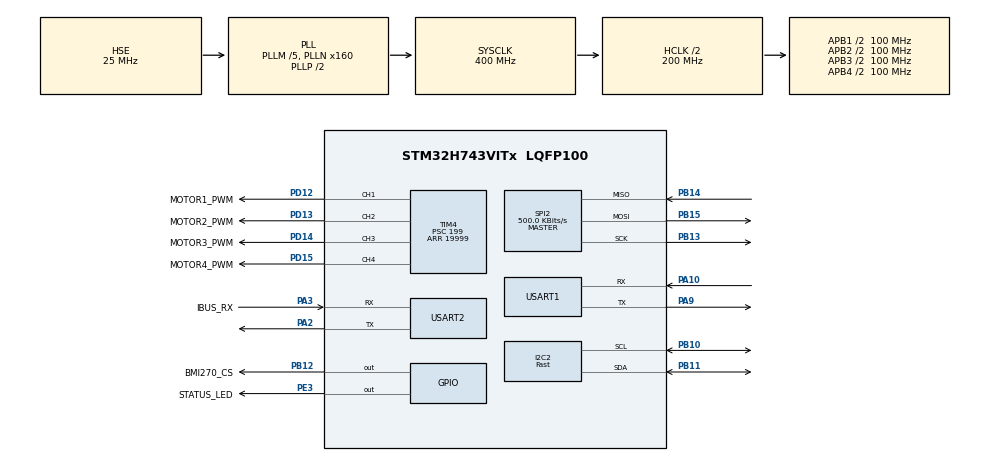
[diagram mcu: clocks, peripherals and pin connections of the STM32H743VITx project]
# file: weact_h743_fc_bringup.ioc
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I2C2.I2C_Speed_Mode=I2C_Fast
I2C2.Timing=0x009034B6
Mcu.Family=STM32H7
Mcu.Name=STM32H743VITx
Mcu.Package=LQFP100
NVIC.PriorityGroup=NVIC_PRIORITYGROUP_4
NVIC.USART2_IRQn=true\:5\:0\:true\:false\:true\:true\:true\:true
PA10.Mode=Asynchronous
PA10.Signal=USART1_RX
PA13\ (JTMS/SWDIO).Mode=Serial_Wire
PA13\ (JTMS/SWDIO).Signal=DEBUG_JTMS-SWDIO
PA14\ (JTCK/SWCLK).Mode=Serial_Wire
PA14\ (JTCK/SWCLK).Signal=DEBUG_JTCK-SWCLK
PA2.Mode=Asynchronous
PA2.Signal=USART2_TX
PA3.GPIO_Label=IBUS_RX
PA3.Mode=Asynchronous
PA3.Signal=USART2_RX
PA9.Mode=Asynchronous
PA9.Signal=USART1_TX
PB10.GPIO_Speed=GPIO_SPEED_FREQ_HIGH
PB10.Mode=I2C
PB10.Signal=I2C2_SCL
PB11.GPIO_Speed=GPIO_SPEED_FREQ_HIGH
PB11.Mode=I2C
PB11.Signal=I2C2_SDA
PB12.GPIO_Label=BMI270_CS
PB12.PinState=GPIO_PIN_SET
PB12.Signal=GPIO_Output
PB13.GPIO_Speed=GPIO_SPEED_FREQ_HIGH
PB13.Mode=Full_Duplex_Master
PB13.Signal=SPI2_SCK
PB14.GPIO_Speed=GPIO_SPEED_FREQ_HIGH
PB14.Mode=Full_Duplex_Master
PB14.Signal=SPI2_MISO
PB15.GPIO_Speed=GPIO_SPEED_FREQ_HIGH
PB15.Mode=Full_Duplex_Master
PB15.Signal=SPI2_MOSI
PC14-OSC32_IN\ (OSC32_IN).Mode=LSE-External-Oscillator
PC14-OSC32_IN\ (OSC32_IN).Signal=RCC_OSC32_IN
PC15-OSC32_OUT\ (OSC32_OUT).Mode=LSE-External-Oscillator
PC15-OSC32_OUT\ (OSC32_OUT).Signal=RCC_OSC32_OUT
PD12.GPIO_Label=MOTOR1_PWM
PD12.Signal=S_TIM4_CH1
PD13.GPIO_Label=MOTOR2_PWM
PD13.Signal=S_TIM4_CH2
PD14.GPIO_Label=MOTOR3_PWM
PD14.Signal=S_TIM4_CH3
PD15.GPIO_Label=MOTOR4_PWM
PD15.Signal=S_TIM4_CH4
PE3.GPIO_Label=STATUS_LED
PE3.GPIO_Speed=GPIO_SPEED_FREQ_LOW
PE3.PinState=GPIO_PIN_RESET
PE3.Signal=GPIO_Output
PH0-OSC_IN\ (PH0).Mode=HSE-External-Oscillator
PH0-OSC_IN\ (PH0).Signal=RCC_OSC_IN
PH1-OSC_OUT\ (PH1).Mode=HSE-External-Oscillator
PH1-OSC_OUT\ (PH1).Signal=RCC_OSC_OUT
ProjectManager.HeapSize=0x200
ProjectManager.StackSize=0x400
ProjectManager.TargetToolchain=CMake
RCC.ADCFreq_Value=50390625
RCC.APB1Freq_Value=100000000
RCC.APB2Freq_Value=100000000
RCC.APB3Freq_Value=100000000
RCC.APB4Freq_Value=100000000
RCC.CortexFreq_Value=400000000
RCC.D1PPRE=RCC_APB3_DIV2
RCC.D2PPRE1=RCC_APB1_DIV2
RCC.D2PPRE2=RCC_APB2_DIV2
RCC.D3PPRE=RCC_APB4_DIV2
RCC.DIVM1=5
RCC.DIVN1=160
RCC.HCLKFreq_Value=200000000
RCC.HPRE=RCC_HCLK_DIV2
RCC.HSE_VALUE=25000000
RCC.PLLSourceVirtual=RCC_PLLSOURCE_HSE
RCC.SPI123CLockSelection=RCC_SPI123CLKSOURCE_CLKP
RCC.SYSCLKFreq_VALUE=400000000
RCC.SYSCLKSource=RCC_SYSCLKSOURCE_PLLCLK
RCC.USBFreq_Value=400000000
SH.S_TIM4_CH1.0=TIM4_CH1,PWM Generation1 CH1
SH.S_TIM4_CH2.0=TIM4_CH2,PWM Generation2 CH2
SH.S_TIM4_CH3.0=TIM4_CH3,PWM Generation3 CH3
SH.S_TIM4_CH4.0=TIM4_CH4,PWM Generation4 CH4
SPI2.BaudRatePrescaler=SPI_BAUDRATEPRESCALER_128
SPI2.CLKPhase=SPI_PHASE_1EDGE
SPI2.CLKPolarity=SPI_POLARITY_LOW
SPI2.CalculateBaudRate=500.0 KBits/s
SPI2.DataSize=SPI_DATASIZE_8BIT
SPI2.Direction=SPI_DIRECTION_2LINES
SPI2.MasterKeepIOState=SPI_MASTER_KEEP_IO_STATE_ENABLE
SPI2.Mode=SPI_MODE_MASTER
SPI2.NSSPMode=SPI_NSS_PULSE_DISABLE
SPI2.VirtualType=VM_MASTER
TIM2.Prescaler=199
TIM4.AutoReloadPreload=TIM_AUTORELOAD_PRELOAD_ENABLE
TIM4.Channel-PWM\ Generation1\ CH1=TIM_CHANNEL_1
TIM4.Channel-PWM\ Generation2\ CH2=TIM_CHANNEL_2
TIM4.Channel-PWM\ Generation3\ CH3=TIM_CHANNEL_3
TIM4.Channel-PWM\ Generation4\ CH4=TIM_CHANNEL_4
TIM4.Period=19999
TIM4.Prescaler=199
TIM4.Pulse-PWM\ Generation1\ CH1=1000
TIM4.Pulse-PWM\ Generation2\ CH2=1000
TIM4.Pulse-PWM\ Generation3\ CH3=1000
TIM4.Pulse-PWM\ Generation4\ CH4=1000
USART1.VirtualMode-Asynchronous=VM_ASYNC
USART2.VirtualMode-Asynchronous=VM_ASYNC
VP_MEMORYMAP_VS_MEMORYMAP.Mode=CurAppReg
VP_TIM2_VS_ClockSourceINT.Mode=Internal
VP_TIM4_VS_ClockSourceINT.Mode=Internal
board=custom

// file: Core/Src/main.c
/* USER CODE BEGIN Header */
/**
  ******************************************************************************
  * @file           : main.c
  * @brief          : Main program body
  ******************************************************************************
  * @attention
  *
  * Copyright (c) 2026 STMicroelectronics.
  * All rights reserved.
  *
  * This software is licensed under terms that can be found in the LICENSE file
  * in the root directory of this software component.
  * If no LICENSE file comes with this software, it is provided AS-IS.
  *
  ******************************************************************************
  */
/* USER CODE END Header */
#include "main.h"
#include "i2c.h"
#include "spi.h"
#include "tim.h"
#include "usart.h"
#include "gpio.h"

/* USER CODE BEGIN Includes */
#include "bmi270_app.h"
#include "bmp388_app.h"
#include "debug_cli_port.h"
#include "debug_log.h"
#include "esc_pwm.h"
#include "ibus_app.h"
#include "motor_test.h"
#include <stdio.h>

/* USER CODE END Includes */

/* USER CODE BEGIN PV */
static uint32_t led_timestamp;
static uint32_t uart_timestamp;

/* USER CODE END PV */

void SystemClock_Config(void);
void PeriphCommonClock_Config(void);

int main(void)
{

  /* MCU Configuration--------------------------------------------------------*/

  /* Reset of all peripherals, Initializes the Flash interface and the Systick. */
  HAL_Init();

  /* Configure the system clock */
  SystemClock_Config();

  /* Configure the peripherals common clocks */
  PeriphCommonClock_Config();

  /* Initialize all configured peripherals */
  MX_GPIO_Init();
  MX_TIM2_Init();
  MX_USART1_UART_Init();
  MX_I2C2_Init();
  MX_SPI2_Init();
  MX_USART2_UART_Init();
  MX_TIM4_Init();
  /* USER CODE BEGIN 2 */
  if (HAL_TIM_Base_Start(&htim2) != HAL_OK)
  {
    Error_Handler();
  }

  Debug_Log_Init();

  if (ESC_PWM_Init())
  {
    (void)ESC_PWM_StartSafe();
  }

  (void)BMI270_App_Init();
  (void)BMP388_App_Init();
  (void)IBus_App_Init();
  Motor_Test_Init();
  if (Debug_CLI_Port_Init() != HAL_OK)
  {
    Motor_Test_LatchFault(MOTOR_TEST_ABORT_INTERNAL_ERROR);
  }

  led_timestamp = micros();
  uart_timestamp = led_timestamp;

  /* USER CODE END 2 */

  /* Infinite loop */
  while (1)
  {

    /* USER CODE BEGIN 3 */
    uint32_t now = micros();

    Debug_CLI_Process();
    Motor_Test_Process();
    BMI270_App_Process();
    BMP388_App_Process();
    ESC_PWM_Process();
    IBus_App_Process();

    if ((uint32_t)(now - led_timestamp) >= 500000U)
    {
      led_timestamp += 500000U;
      HAL_GPIO_TogglePin(GPIOE, GPIO_PIN_3);
    }

    if ((uint32_t)(now - uart_timestamp) >= 1000000U)
    {
      uart_timestamp += 1000000U;
      if (Debug_Log_IsFull() != 0U)
      {
        char message[48];
        int length;

        length = snprintf(message, sizeof(message),
                          "H1 boot OK, micros=%lu\r\n", (unsigned long)now);
        if ((length > 0) && ((size_t)length < sizeof(message)))
        {
          (void)HAL_UART_Transmit(&huart1, (uint8_t *)message,
                                  (uint16_t)length, HAL_MAX_DELAY);
        }
      }
    }
  }
  /* USER CODE END 3 */
}

void SystemClock_Config(void)
{
  RCC_OscInitTypeDef RCC_OscInitStruct = {0};
  RCC_ClkInitTypeDef RCC_ClkInitStruct = {0};

  /** Supply configuration update enable
  */
  HAL_PWREx_ConfigSupply(PWR_LDO_SUPPLY);

  /** Configure the main internal regulator output voltage
  */
  __HAL_PWR_VOLTAGESCALING_CONFIG(PWR_REGULATOR_VOLTAGE_SCALE1);

  while(!__HAL_PWR_GET_FLAG(PWR_FLAG_VOSRDY)) {}

  /** Initializes the RCC Oscillators according to the specified parameters
  * in the RCC_OscInitTypeDef structure.
  */
  RCC_OscInitStruct.OscillatorType = RCC_OSCILLATORTYPE_HSI|RCC_OSCILLATORTYPE_HSE;
  RCC_OscInitStruct.HSEState = RCC_HSE_ON;
  RCC_OscInitStruct.HSIState = RCC_HSI_DIV1;
  RCC_OscInitStruct.HSICalibrationValue = RCC_HSICALIBRATION_DEFAULT;
  RCC_OscInitStruct.PLL.PLLState = RCC_PLL_ON;
  RCC_OscInitStruct.PLL.PLLSource = RCC_PLLSOURCE_HSE;
  RCC_OscInitStruct.PLL.PLLM = 5;
  RCC_OscInitStruct.PLL.PLLN = 160;
  RCC_OscInitStruct.PLL.PLLP = 2;
  RCC_OscInitStruct.PLL.PLLQ = 2;
  RCC_OscInitStruct.PLL.PLLR = 2;
  RCC_OscInitStruct.PLL.PLLRGE = RCC_PLL1VCIRANGE_2;
  RCC_OscInitStruct.PLL.PLLVCOSEL = RCC_PLL1VCOWIDE;
  RCC_OscInitStruct.PLL.PLLFRACN = 0;
  if (HAL_RCC_OscConfig(&RCC_OscInitStruct) != HAL_OK)
  {
    Error_Handler();
  }

  /** Initializes the CPU, AHB and APB buses clocks
  */
  RCC_ClkInitStruct.ClockType = RCC_CLOCKTYPE_HCLK|RCC_CLOCKTYPE_SYSCLK
                              |RCC_CLOCKTYPE_PCLK1|RCC_CLOCKTYPE_PCLK2
                              |RCC_CLOCKTYPE_D3PCLK1|RCC_CLOCKTYPE_D1PCLK1;
  RCC_ClkInitStruct.SYSCLKSource = RCC_SYSCLKSOURCE_PLLCLK;
  RCC_ClkInitStruct.SYSCLKDivider = RCC_SYSCLK_DIV1;
  RCC_ClkInitStruct.AHBCLKDivider = RCC_HCLK_DIV2;
  RCC_ClkInitStruct.APB3CLKDivider = RCC_APB3_DIV2;
  RCC_ClkInitStruct.APB1CLKDivider = RCC_APB1_DIV2;
  RCC_ClkInitStruct.APB2CLKDivider = RCC_APB2_DIV2;
  RCC_ClkInitStruct.APB4CLKDivider = RCC_APB4_DIV2;

  if (HAL_RCC_ClockConfig(&RCC_ClkInitStruct, FLASH_LATENCY_2) != HAL_OK)
  {
    Error_Handler();
  }
}

void PeriphCommonClock_Config(void)
{
  RCC_PeriphCLKInitTypeDef PeriphClkInitStruct = {0};

  /** Initializes the peripherals clock
  */
  PeriphClkInitStruct.PeriphClockSelection = RCC_PERIPHCLK_CKPER;
  PeriphClkInitStruct.CkperClockSelection = RCC_CLKPSOURCE_HSI;
  if (HAL_RCCEx_PeriphCLKConfig(&PeriphClkInitStruct) != HAL_OK)
  {
    Error_Handler();
  }
}

/* USER CODE BEGIN 4 */
uint32_t micros(void)
{
  return __HAL_TIM_GET_COUNTER(&htim2);
}

/* USER CODE END 4 */

void Error_Handler(void)
{
  __disable_irq();
  while (1)
  {
  }
}
